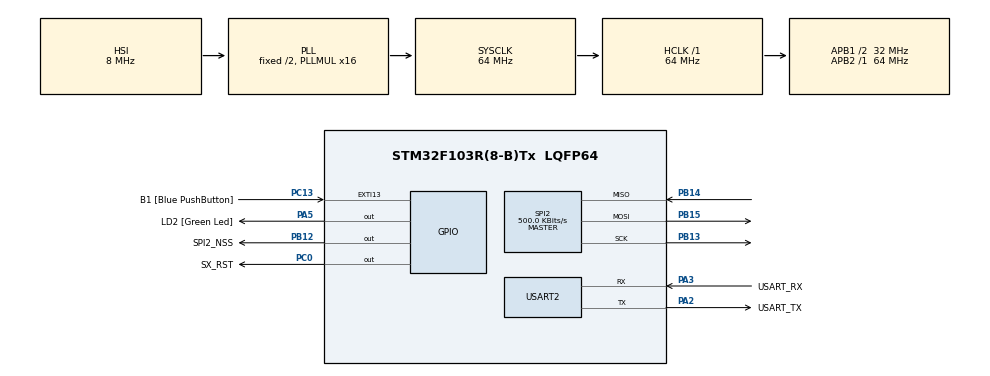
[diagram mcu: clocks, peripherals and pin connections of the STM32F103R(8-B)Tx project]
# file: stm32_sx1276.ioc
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Mcu.Family=STM32F1
PC15-OSC32_OUT.Mode=LSE-External-Oscillator
PA2.GPIO_PuPd=GPIO_NOPULL
PD1-OSC_OUT.Mode=HSE-External-Clock-Source
SPI2.VirtualType=VM_MASTER
PA14.GPIO_Label=TCK
PA3.GPIO_PuPd=GPIO_NOPULL
PA2.GPIO_Speed=GPIO_SPEED_FREQ_LOW
PC13-TAMPER-RTC.Signal=GPXTI13
PC0.GPIO_Label=SX_RST
PD0-OSC_IN.Signal=RCC_OSC_IN
PC0.Signal=GPIO_Output
RCC.APB1CLKDivider=RCC_HCLK_DIV2
PC14-OSC32_IN.Signal=RCC_OSC32_IN
PA3.GPIO_Speed=GPIO_SPEED_FREQ_LOW
PB13.Signal=SPI2_SCK
PB15.Signal=SPI2_MOSI
RCC.SYSCLKSource=RCC_SYSCLKSOURCE_PLLCLK
ProjectManager.StackSize=0x400
PD1-OSC_OUT.Signal=RCC_OSC_OUT
PA3.Mode=Asynchronous
PA13.Signal=SYS_JTMS-SWDIO
ProjectManager.TargetToolchain=STM32CubeIDE
SPI2.CRCCalculation=SPI_CRCCALCULATION_DISABLE
PA3.GPIO_Mode=GPIO_MODE_AF_PP
RCC.HCLKFreq_Value=64000000
RCC.APB2TimFreq_Value=64000000
RCC.USBFreq_Value=64000000
PC15-OSC32_OUT.Signal=RCC_OSC32_OUT
RCC.AHBFreq_Value=64000000
SPI2.BaudRatePrescaler=SPI_BAUDRATEPRESCALER_64
PD0-OSC_IN.Mode=HSE-External-Clock-Source
NVIC.EXTI15_10_IRQn=true\:0\:0\:false\:false\:true\:true\:true
PB14.Signal=SPI2_MISO
PA5.Signal=GPIO_Output
board=NUCLEO-F103RB
RCC.RTCClockSelection=RCC_RTCCLKSOURCE_LSE
PC13-TAMPER-RTC.GPIO_Label=B1 [Blue PushButton]
RCC.PLLMUL=RCC_PLL_MUL16
PB15.Mode=Full_Duplex_Master
PB12.GPIO_Label=SPI2_NSS
RCC.APB2Freq_Value=64000000
PC14-OSC32_IN.Mode=LSE-External-Oscillator
PA5.GPIO_ModeDefaultOutputPP=GPIO_MODE_OUTPUT_PP
PA14.Mode=Serial_Wire
PB14.Mode=Full_Duplex_Master
PA5.GPIO_PuPd=GPIO_NOPULL
SPI2.CalculateBaudRate=500.0 KBits/s
PA13.Mode=Serial_Wire
Mcu.Name=STM32F103R(8-B)Tx
PA2.Signal=USART2_TX
PA13.GPIO_Label=TMS
PB3.Signal=SYS_JTDO-TRACESWO
RCC.SYSCLKFreq_VALUE=64000000
Mcu.Package=LQFP64
SPI2.Mode=SPI_MODE_MASTER
PA5.GPIO_Label=LD2 [Green Led]
USART2.VirtualMode=VM_ASYNC
PC13-TAMPER-RTC.GPIO_PuPd=GPIO_NOPULL
PA2.GPIO_Label=USART_TX
PA14.Signal=SYS_JTCK-SWCLK
ProjectManager.HeapSize=0x200
PA5.GPIO_Speed=GPIO_SPEED_FREQ_LOW
NVIC.PriorityGroup=NVIC_PRIORITYGROUP_4
RCC.APB1TimFreq_Value=64000000
PA2.Mode=Asynchronous
SPI2.DataSize=SPI_DATASIZE_8BIT
SPI2.Direction=SPI_DIRECTION_2LINES
PB13.Mode=Full_Duplex_Master
RCC.APB1Freq_Value=32000000
PB12.Signal=GPIO_Output
PA3.GPIO_Label=USART_RX
PA3.Signal=USART2_RX
PA2.GPIO_Mode=GPIO_MODE_AF_PP
PB3.GPIO_Label=SWO

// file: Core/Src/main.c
/* USER CODE BEGIN Header */
/**
  ******************************************************************************
  * @file           : main.c
  * @brief          : Main program body
  ******************************************************************************
  * @attention
  *
  * <h2><center>&copy; Copyright (c) 2021 STMicroelectronics.
  * All rights reserved.</center></h2>
  *
  * This software component is licensed by ST under BSD 3-Clause license,
  * the "License"; You may not use this file except in compliance with the
  * License. You may obtain a copy of the License at:
  *                        opensource.org/licenses/BSD-3-Clause
  *
  ******************************************************************************
  */
/* USER CODE END Header */
#include "main.h"
#include "spi.h"
#include "usart.h"
#include "gpio.h"

/* USER CODE BEGIN PV */
//SPI_HandleTypeDef hspi2;
/* USER CODE END PV */

void SystemClock_Config(void);

int main(void)
{
  /* USER CODE BEGIN 1 */
	  uint8_t address 		= 0x81;
	  uint8_t data_transmit	= 0x89;
	  uint8_t data_receive	= 0x00;
  /* USER CODE END 1 */

  /* MCU Configuration--------------------------------------------------------*/

  /* Reset of all peripherals, Initializes the Flash interface and the Systick. */
  HAL_Init();

  /* Configure the system clock */
  SystemClock_Config();

  /* Initialize all configured peripherals */
  MX_GPIO_Init();
  MX_USART2_UART_Init();
  MX_SPI2_Init();
  /* USER CODE BEGIN 2 */
  HAL_GPIO_WritePin(SX_RST_GPIO_Port, SX_RST_Pin, SET);
  HAL_GPIO_WritePin(SPI2_NSS_GPIO_Port, SPI2_NSS_Pin, SET);
  HAL_StatusTypeDef SPI_Status = {0};

  // Write in RegOpMode
  HAL_GPIO_WritePin(SPI2_NSS_GPIO_Port, SPI2_NSS_Pin, RESET);
  SPI_Status = HAL_SPI_Transmit(&hspi2, &address, sizeof(uint8_t), 1000);				// Transmit address
  HAL_GPIO_WritePin(SPI2_NSS_GPIO_Port, SPI2_NSS_Pin, SET);

  // Write in RegOpMode
  HAL_GPIO_WritePin(SPI2_NSS_GPIO_Port, SPI2_NSS_Pin, RESET);
  SPI_Status = HAL_SPI_Transmit(&hspi2, &address, sizeof(uint8_t), 1000);					// Transmit address
  SPI_Status = HAL_SPI_Transmit(&hspi2, &data_transmit, sizeof(uint8_t), 1000);				// Transmit address
  HAL_GPIO_WritePin(SPI2_NSS_GPIO_Port, SPI2_NSS_Pin, SET);

  // Read from RegOpMode
  HAL_GPIO_WritePin(SPI2_NSS_GPIO_Port, SPI2_NSS_Pin, RESET);
  address = 0x01;
  SPI_Status = HAL_SPI_Transmit(&hspi2, &address, sizeof(uint8_t), 1000);
  SPI_Status = HAL_SPI_Receive(&hspi2, &data_receive, sizeof(uint8_t), 1000);
  HAL_GPIO_WritePin(SPI2_NSS_GPIO_Port, SPI2_NSS_Pin, SET);
  /* USER CODE END 2 */

  /* Infinite loop */
   while (1)
  {

  }
}

void SystemClock_Config(void)
{
  RCC_OscInitTypeDef RCC_OscInitStruct = {0};
  RCC_ClkInitTypeDef RCC_ClkInitStruct = {0};

  /** Initializes the RCC Oscillators according to the specified parameters
  * in the RCC_OscInitTypeDef structure.
  */
  RCC_OscInitStruct.OscillatorType = RCC_OSCILLATORTYPE_HSI;
  RCC_OscInitStruct.HSIState = RCC_HSI_ON;
  RCC_OscInitStruct.HSICalibrationValue = RCC_HSICALIBRATION_DEFAULT;
  RCC_OscInitStruct.PLL.PLLState = RCC_PLL_ON;
  RCC_OscInitStruct.PLL.PLLSource = RCC_PLLSOURCE_HSI_DIV2;
  RCC_OscInitStruct.PLL.PLLMUL = RCC_PLL_MUL16;
  if (HAL_RCC_OscConfig(&RCC_OscInitStruct) != HAL_OK)
  {
    Error_Handler();
  }
  /** Initializes the CPU, AHB and APB buses clocks
  */
  RCC_ClkInitStruct.ClockType = RCC_CLOCKTYPE_HCLK|RCC_CLOCKTYPE_SYSCLK
                              |RCC_CLOCKTYPE_PCLK1|RCC_CLOCKTYPE_PCLK2;
  RCC_ClkInitStruct.SYSCLKSource = RCC_SYSCLKSOURCE_PLLCLK;
  RCC_ClkInitStruct.AHBCLKDivider = RCC_SYSCLK_DIV1;
  RCC_ClkInitStruct.APB1CLKDivider = RCC_HCLK_DIV2;
  RCC_ClkInitStruct.APB2CLKDivider = RCC_HCLK_DIV1;

  if (HAL_RCC_ClockConfig(&RCC_ClkInitStruct, FLASH_LATENCY_2) != HAL_OK)
  {
    Error_Handler();
  }
}

void Error_Handler(void)
{
  __disable_irq();
  while (1)
  {
  }
}

/************************ (C) COPYRIGHT STMicroelectronics *****END OF FILE****/
